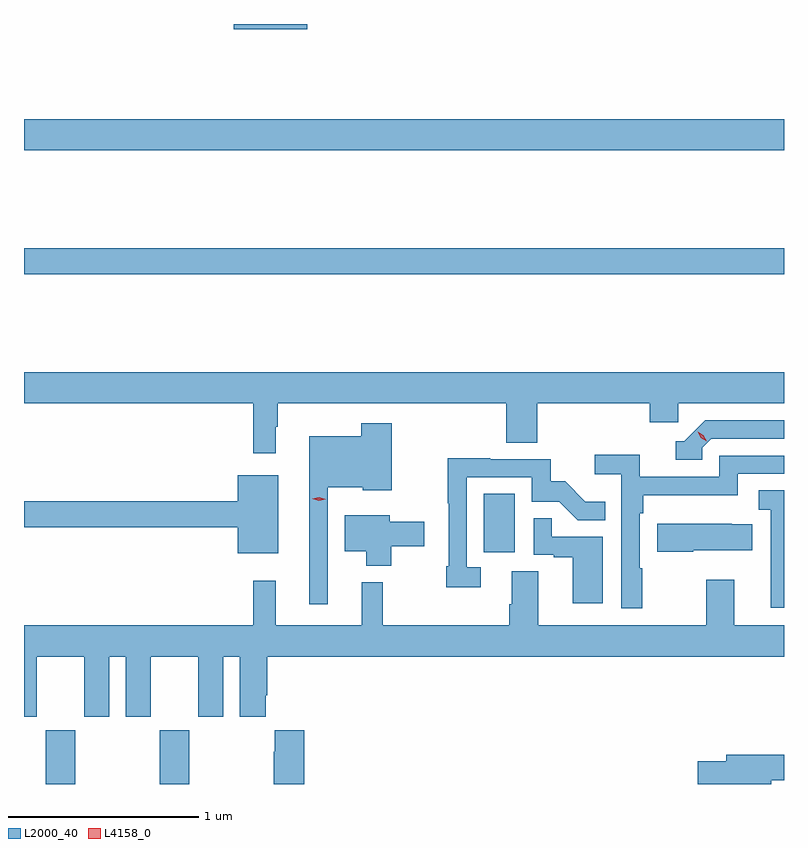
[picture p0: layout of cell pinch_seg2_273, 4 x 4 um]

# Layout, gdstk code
import gdstk
lib = gdstk.Library(unit=1e-6, precision=1e-09)
def R(c, l, rs):  # rectangles x0, y0, x1, y1
    for r in rs: c.add(gdstk.rectangle(r[:2], r[2:], *l))
def P(c, l, *ps):  # polygons
    for p in ps: c.add(gdstk.Polygon(p, *l))
L2000_40 = (2000, 40)
L4158_0 = (4158, 0)

pinch_seg2_273 = lib.new_cell('pinch_seg2_273')
R(pinch_seg2_273, L2000_40, [(903.385,645.633,903.54,645.916), (903.985,645.633,904.14,645.916), (905.69,646.854,905.854,647.161), (903.27,648.316,907.27,648.452), (903.27,648.968,907.27,649.132), (904.374,649.606,904.762,649.633)])
P(pinch_seg2_273, L2000_40, [(904.594,647.513),(904.606,647.513),(904.606,647.636),(905.807,647.636),(905.807,647.428),(905.972,647.428),(905.972,647.636),(906.563,647.636),(906.563,647.538),(906.714,647.538),(906.714,647.636),(907.27,647.636),(907.27,647.8),(903.27,647.8),(903.27,647.636),(904.477,647.636),(904.477,647.373),(904.594,647.373)],
  [(906.84,647.403),(906.888,647.451),(907.27,647.451),(907.27,647.547),(906.855,647.547),(906.744,647.436),(906.701,647.436),(906.701,647.34),(906.84,647.34)],
  [(904.869,647.195),(905.052,647.195),(905.052,647.18),(905.206,647.18),(905.206,647.533),(905.045,647.533),(905.045,647.464),(904.772,647.464),(904.772,646.578),(904.869,646.578)],
  [(906.523,646.769),(906.51,646.769),(906.51,647.057),(906.53,647.057),(906.53,647.153),(907.026,647.153),(907.026,647.265),(907.27,647.265),(907.27,647.361),(906.93,647.361),(906.93,647.25),(906.512,647.25),(906.512,647.366),(906.273,647.366),(906.273,647.264),(906.414,647.264),(906.414,646.557),(906.523,646.557)],
  [(905.674,646.773),(905.601,646.773),(905.601,647.247),(905.943,647.247),(905.943,647.118),(906.087,647.118),(906.185,647.02),(906.329,647.02),(906.329,647.119),(906.225,647.119),(906.118,647.226),(906.042,647.226),(906.042,647.343),(905.723,647.343),(905.723,647.348),(905.5,647.348),(905.5,647.11),(905.505,647.11),(905.505,646.78),(905.493,646.78),(905.493,646.668),(905.674,646.668)],
  [(904.609,647.257),(904.394,647.257),(904.394,647.12),(903.27,647.12),(903.27,646.984),(904.394,646.984),(904.394,646.847),(904.609,646.847)],
  [(907.27,647.18),(907.137,647.18),(907.137,647.077),(907.2,647.077),(907.2,646.773),(907.199,646.773),(907.199,646.56),(907.27,646.56)],
  [(905.202,646.885),(905.377,646.885),(905.377,647.014),(905.194,647.014),(905.194,647.047),(904.958,647.047),(904.958,646.859),(905.072,646.859),(905.072,646.781),(905.202,646.781)],
  [(906.316,646.935),(906.047,646.935),(906.047,647.033),(905.952,647.033),(905.952,646.839),(906.059,646.839),(906.059,646.827),(906.158,646.827),(906.158,646.584),(906.316,646.584)],
  [(906.793,646.862),(907.103,646.862),(907.103,646.999),(906.995,646.999),(906.995,647.002),(906.602,647.002),(906.602,646.855),(906.793,646.855)],
  [(903.337,646.304),(903.587,646.304),(903.587,645.987),(903.718,645.987),(903.718,646.304),(903.806,646.304),(903.806,645.987),(903.937,645.987),(903.937,646.304),(904.187,646.304),(904.187,645.987),(904.318,645.987),(904.318,646.304),(904.406,646.304),(904.406,645.987),(904.543,645.987),(904.543,646.099),(904.55,646.099),(904.55,646.304),(907.27,646.304),(907.27,646.468),(907.009,646.468),(907.009,646.708),(906.862,646.708),(906.862,646.468),(905.977,646.468),(905.977,646.754),(905.837,646.754),(905.837,646.58),(905.825,646.58),(905.825,646.468),(905.158,646.468),(905.158,646.696),(905.048,646.696),(905.048,646.468),(904.595,646.468),(904.595,646.702),(904.477,646.702),(904.477,646.468),(903.27,646.468),(903.27,645.987),(903.337,645.987)],
  [(904.745,645.916),(904.589,645.916),(904.589,645.803),(904.585,645.803),(904.585,645.633),(904.745,645.633)],
  [(907.204,645.652),(907.27,645.652),(907.27,645.788),(906.965,645.788),(906.965,645.752),(906.816,645.752),(906.816,645.633),(907.204,645.633)])
P(pinch_seg2_273, L4158_0, [(906.863,647.436),(906.832,647.455),(906.815,647.487),(906.815,647.488),(906.815,647.488),(906.846,647.468),(906.863,647.436),(906.863,647.436)],
  [(904.822,647.123),(904.787,647.135),(904.787,647.135),(904.787,647.135),(904.824,647.143),(904.858,647.131),(904.859,647.131),(904.858,647.131)])

lib.write_gds('pinch_seg2_273.gds')
